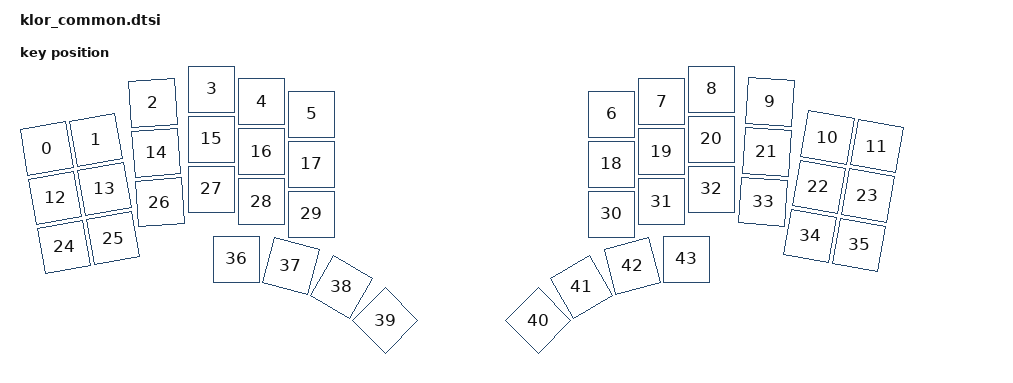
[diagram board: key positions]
/*
 * Copyright (c) 2022 The ZMK Contributors
 *
 * SPDX-License-Identifier: MIT
 */

#include <dt-bindings/zmk/matrix_transform.h>
#include <physical_layouts.dtsi>

/ {
    physical_layout0: physical_layout0 {
        compatible = "zmk,physical-layout";
        display-name = "KLOR Layout";
        transform = <&default_transform>;
        kscan = <&kscan0>;  

        keys  //                     w   h    x    y     rot    rx    ry
            = <&key_physical_attrs 100 100    0   90 (-1000)   200   325>
            , <&key_physical_attrs 100 100  100   90 (-1000)   200   325>
            , <&key_physical_attrs 100 100  200   25  (-400)   275   325>
            , <&key_physical_attrs 100 100  300    0       0     0     0>
            , <&key_physical_attrs 100 100  400   25       0     0     0>
            , <&key_physical_attrs 100 100  500   50       0     0     0>
            , <&key_physical_attrs 100 100 1100   50       0     0     0>
            , <&key_physical_attrs 100 100 1200   25       0     0     0>
            , <&key_physical_attrs 100 100 1300    0       0     0     0>
            , <&key_physical_attrs 100 100 1400   25     400  1450   325>
            , <&key_physical_attrs 100 100 1500   90    1000  1525   325>
            , <&key_physical_attrs 100 100 1600   90    1000  1525   325>
            , <&key_physical_attrs 100 100    0  190 (-1000)   200   325>
            , <&key_physical_attrs 100 100  100  190 (-1000)   200   325>
            , <&key_physical_attrs 100 100  200  125  (-400)   275   325>
            , <&key_physical_attrs 100 100  300  100       0     0     0>
            , <&key_physical_attrs 100 100  400  125       0     0     0>
            , <&key_physical_attrs 100 100  500  150       0     0     0>
            , <&key_physical_attrs 100 100 1100  150       0     0     0>
            , <&key_physical_attrs 100 100 1200  125       0     0     0>
            , <&key_physical_attrs 100 100 1300  100       0     0     0>
            , <&key_physical_attrs 100 100 1400  125     400  1450   325>
            , <&key_physical_attrs 100 100 1500  190    1000  1525   325>
            , <&key_physical_attrs 100 100 1600  190    1000  1525   325>
            , <&key_physical_attrs 100 100    0  290 (-1000)   200   325>
            , <&key_physical_attrs 100 100  100  290 (-1000)   200   325>
            , <&key_physical_attrs 100 100  200  225  (-400)   275   325>
            , <&key_physical_attrs 100 100  300  200       0     0     0>
            , <&key_physical_attrs 100 100  400  225       0     0     0>
            , <&key_physical_attrs 100 100  500  250       0     0     0>
            , <&key_physical_attrs 100 100 1100  250       0     0     0>
            , <&key_physical_attrs 100 100 1200  225       0     0     0>
            , <&key_physical_attrs 100 100 1300  200       0     0     0>
            , <&key_physical_attrs 100 100 1400  225     400  1450   325>
            , <&key_physical_attrs 100 100 1500  290    1000  1525   325>
            , <&key_physical_attrs 100 100 1600  290    1000  1525   325>
            , <&key_physical_attrs 100 100  350  340       0     0     0>
            , <&key_physical_attrs 100 100  350  340    1500   400   810>
            , <&key_physical_attrs 100 100  350  340    3000   400   810>
            , <&key_physical_attrs 100 100  350  340    4500   400   810>
            , <&key_physical_attrs 100 100 1250  340 (-4500)  1300   810>
            , <&key_physical_attrs 100 100 1250  340 (-3000)  1300   810>
            , <&key_physical_attrs 100 100 1250  340 (-1500)  1300   810>
            , <&key_physical_attrs 100 100 1250  340       0     0     0>
            ;
    };
};

/ {
	chosen {
		zephyr,display = &oled;
		zmk,kscan = &kscan0;
		zmk,matrix_transform = &default_transform;
	};

	kscan0: kscan {
		compatible = "zmk,kscan-gpio-matrix";
		label = "KSCAN";
        wakeup-source;
		diode-direction = "col2row";		
	};

	left_encoder: encoder_left {
		compatible = "alps,ec11";
		label = "LEFT_ENCODER";
		resolution = <4>;
		status = "disabled";
	};

	right_encoder: encoder_right {
		compatible = "alps,ec11";
		label = "RIGHT_ENCODER";
		resolution = <4>;
		status = "disabled";
	};

	sensors {
		compatible = "zmk,keymap-sensors";
		sensors = <&left_encoder &right_encoder>;
	};

	// TODO: RGB node(s)
};

&pro_micro_i2c {
	status = "okay";

	oled: ssd1306@3c {
		compatible = "solomon,ssd1306fb";
		reg = <0x3c>;
		label = "DISPLAY";
		width = <128>;
		height = <64>;
		segment-offset = <0>;
		page-offset = <0>;
		display-offset = <0>;
		multiplex-ratio = <63>;
		prechargep = <0x22>;
      		inversion-on;
	};
};
